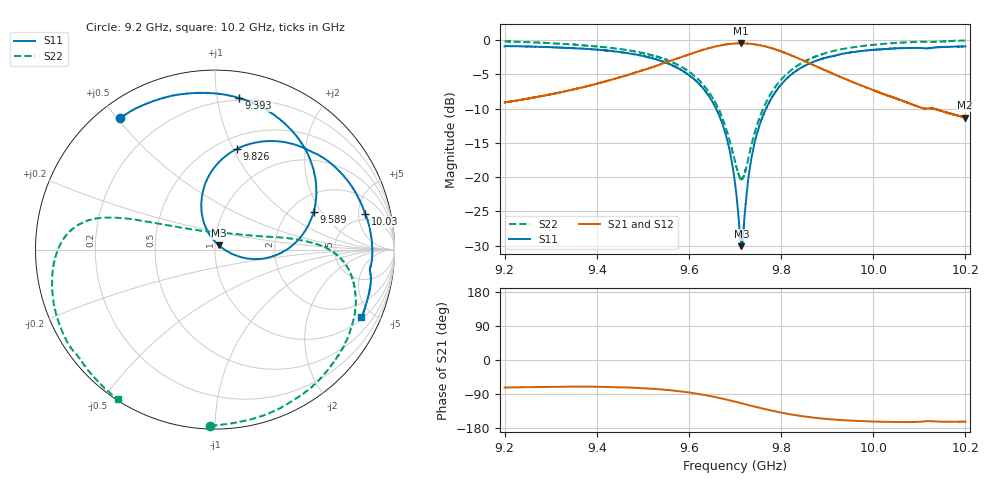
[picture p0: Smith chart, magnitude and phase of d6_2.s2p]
!Agilent Technologies,N5242A,MY51221714,A.09.90.19
!Agilent N5242A: A.09.90.19
!Date: Saturday, March 16, 2024 09:15:01
!Correction: S11(Full 2 Port(1,2))
!S21(Full 2 Port(1,2))
!S12(Full 2 Port(1,2))
!S22(Full 2 Port(1,2))
!S2P File: Measurements: S11, S21, S12, S22:
# Hz S  dB  R 50
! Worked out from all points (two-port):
!   16001 points, 9.2 GHz to 10.2 GHz, reference 50 ohm
!   highest |S21| = -0.46 dB at 9.713 GHz (marker M1); lowest = -11.3 dB at 10.2 GHz (marker M2)
!   |S21| within 3 dB of the highest: 9.541 GHz to 9.864 GHz (323 MHz wide, 3.33 % of centre); 9.864737 GHz to 9.864769 GHz (32.67 kHz wide, 0.000331 % of centre)
!   lowest |S11| = -30.1 dB at 9.714 GHz (marker M3), VSWR 1.06, Z = 52.1 + j2.42 ohm
!   |S11| at or under -10 dB: 9.659 GHz to 9.767 GHz (108.6 MHz wide, 1.12 % of centre)
!   |S22| runs from -20.3 to -0.1 dB; largest |S21 - S12| = 0.012
!   S11 on the Smith chart (normalised r, x): 9.2 GHz: 0.06, +0.51; 9.393 GHz: 0.18, +1.15; 9.589 GHz: 2.65, +1.70; 9.826 GHz: 0.62, +1.04; 10.03 GHz: 3.92, +6.04; 10.2 GHz: 1.09, -4.27
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9.2e9  -0.90 125.9  -9.10 -72.8  -9.08 -73.3  -0.17 -91.5
9.277625e9  -0.99 108.5  -8.20 -71.1  -8.18 -71.6  -0.37 -69.9
9.366688e9  -1.25 87.7  -6.93 -70.4  -6.91 -70.9  -0.75 -46.2
9.393312e9  -1.37 81.0  -6.49 -70.5  -6.47 -71.0  -0.88 -39.3
9.533375e9  -2.90 40.8  -3.66 -77.1  -3.64 -77.4  -2.46 -8.4
9.589125e9  -4.61 20.9  -2.35 -83.9  -2.34 -84.4  -4.12 0.8
9.661688e9  -10.39 -8.3  -0.87 -99.1  -0.87 -99.6  -9.69 12.5
9.684188e9  -14.87 -15.7  -0.60 -105.3  -0.59 -105.8  -13.66 22.5
9.7e9  -20.72 -13.2  -0.50 -109.9  -0.48 -110.5  -17.71 42.5
9.713375e9  -29.66 39.4  -0.46 -114.1  -0.45 -114.6  -20.19 82.5
9.714e9  -30.06 47.7  -0.47 -114.2  -0.46 -114.7  -20.27 84.8
9.733562e9  -18.05 112.4  -0.54 -120.2  -0.53 -120.8  -15.89 136.3
9.751875e9  -12.69 109.0  -0.73 -125.7  -0.71 -126.3  -11.56 150.4
9.784062e9  -7.96 95.7  -1.28 -134.7  -1.28 -135.3  -7.17 158.5
9.826438e9  -4.80 77.5  -2.35 -144.6  -2.35 -145.1  -4.15 163.3
9.866688e9  -3.27 61.8  -3.54 -151.6  -3.52 -152.1  -2.61 167.7
9.950375e9  -1.81 34.3  -5.98 -160.0  -5.99 -160.4  -1.11 -179.1
1.002762e10  -1.30 13.4  -7.99 -163.2  -8.00 -163.7  -0.53 -163.6
1.003338e10  -1.28 11.9  -8.14 -163.2  -8.13 -163.7  -0.49 -162.3
1.01055e10  -1.17 -5.3  -9.88 -162.6  -9.88 -163.1  -0.25 -146.3
1.01995e10  -0.94 -24.7  -11.32 -162.5  -11.29 -163.1  -0.06 -123.0
1.02e10  -0.93 -24.8  -11.31 -162.6  -11.30 -163.2  -0.06 -122.9
